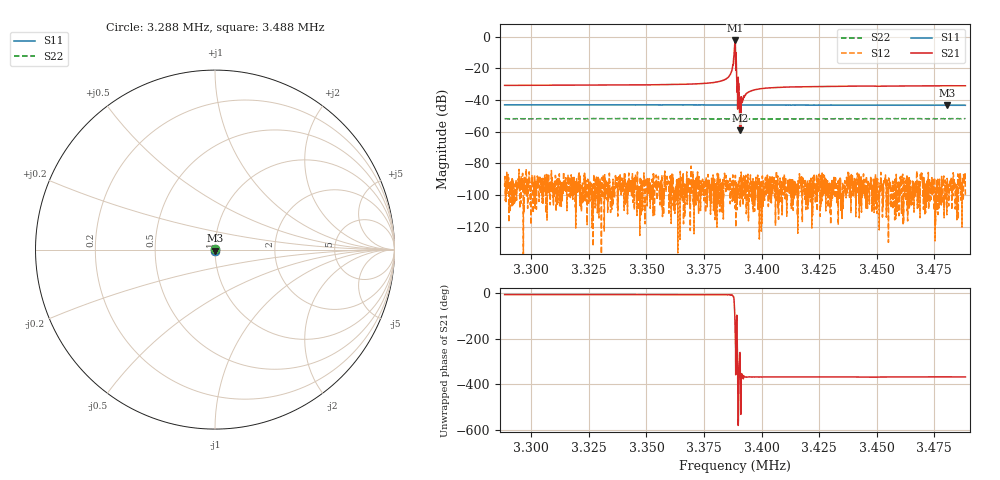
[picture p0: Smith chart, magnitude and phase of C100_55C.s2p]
# Hz S dB R 50.000
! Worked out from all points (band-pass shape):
!   6401 points, 3.288 MHz to 3.488 MHz, reference 50 ohm
!   highest |S21| = -2.29 dB at 3.388 MHz (marker M1); lowest = -59.2 dB at 3.39 MHz (marker M2)
!   |S21| within 3 dB of the highest: 3.38827 MHz to 3.38862 MHz (350.3 Hz wide, 0.0103 % of centre)
!   lowest |S11| = -43.3 dB at 3.48 MHz (marker M3), VSWR 1.01, Z = 50 - j0.682 ohm
!   |S11| at or under -10 dB: start of sweep to end of sweep
!   |S22| runs from -52.5 to -51.2 dB; largest |S21 - S12| = 0.77
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3288438  -42.99 -93.0  -30.66 -6.9  -92.73 -41.8  -51.69 29.6
3321782  -42.98 -93.0  -30.54 -6.9  -110.50 17.4  -51.72 29.9
3355126  -43.01 -93.1  -30.26 -7.1  -88.97 0.6  -51.63 29.9
3382657  -43.02 -93.2  -27.79 -7.4  -95.70 -90.6  -51.85 30.4
3386032  -43.04 -93.3  -24.56 -7.5  -96.76 -55.3  -51.88 29.7
3386876  -43.03 -93.0  -22.27 -8.7  -91.43 -36.4  -51.90 30.6
3387313  -43.08 -93.2  -19.58 -9.5  -100.05 -177.1  -51.88 30.0
3387782  -43.04 -93.2  -14.75 -15.9  -92.23 -89.3  -51.99 29.5
3388157  -43.06 -93.2  -8.19 -50.3  -98.78 -128.2  -52.20 29.2
3388438  -43.11 -93.2  -2.29 -122.8  -96.95 -129.4  -52.21 35.2
3389188  -43.06 -93.2  -24.68 -110.1  -102.50 83.2  -51.83 31.0
3389532  -43.08 -93.1  -31.74 80.2  -93.64 16.8  -51.89 30.8
3390032  -43.05 -93.3  -31.50 -88.9  -91.52 3.8  -51.91 30.7
3390469  -43.07 -93.1  -59.18 87.7  -87.93 81.8  -51.78 30.4
3391313  -43.07 -93.2  -39.03 7.1  -92.62 7.6  -51.92 30.8
3392063  -43.08 -93.2  -38.81 -13.5  -91.54 20.3  -51.78 30.9
3393594  -43.07 -93.0  -35.53 -7.6  -101.69 56.2  -51.91 30.8
3398094  -43.08 -93.4  -33.16 -7.1  -94.01 70.0  -51.90 30.5
3421782  -43.14 -93.3  -31.43 -7.1  -120.85 55.4  -51.83 30.9
3455126  -43.17 -93.3  -31.12 -7.3  -91.59 -25.0  -51.72 30.9
3480469  -43.30 -93.0  -31.02 -6.9  -89.48 40.4  -51.76 29.6
3488438  -43.26 -92.9  -30.92 -7.3  -101.11 10.0  -51.79 29.2
